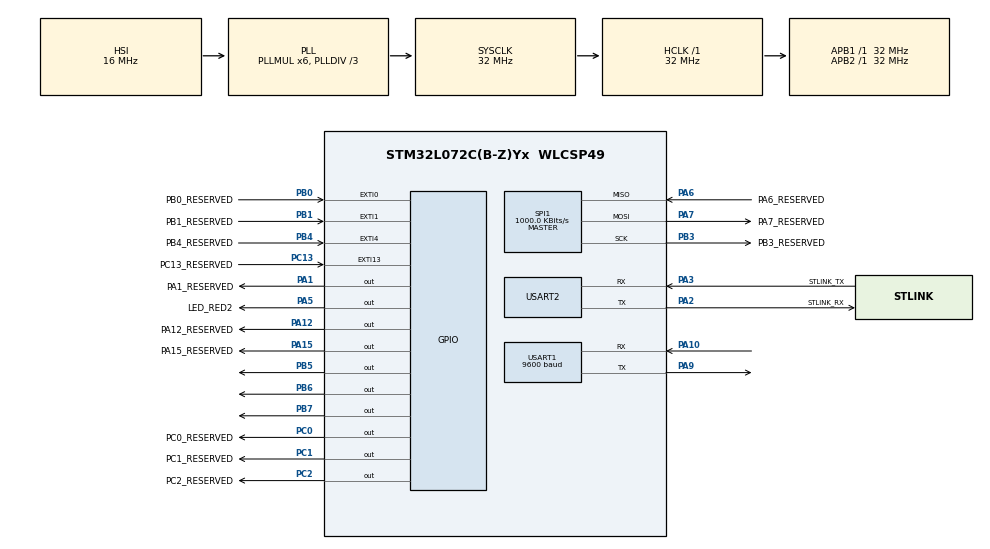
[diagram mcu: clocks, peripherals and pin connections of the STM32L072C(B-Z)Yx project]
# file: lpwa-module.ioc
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Mcu.Family=STM32L0
PA6.Mode=Full_Duplex_Master
PH0-OSC_IN.Signal=RCC_OSC_IN
SPI1.VirtualType=VM_MASTER
USART1.BaudRate=9600
PC0.GPIO_Label=PC0_RESERVED
VP_RTC_VS_RTC_Activate.Mode=RTC_Enabled
PB0.GPIO_Label=PB0_RESERVED
PA6.GPIO_Label=PA6_RESERVED
PC2.GPIO_Speed=GPIO_SPEED_FREQ_HIGH
PC13.GPIO_Label=PC13_RESERVED
VP_RTC_VS_RTC_Alarm_A_Intern.Mode=Alarm A
RCC.SYSCLKSource=RCC_SYSCLKSOURCE_PLLCLK
ProjectManager.StackSize=0x400
NVIC.RTC_IRQn=true\:0\:0\:false\:false\:true\:true\:true
PA15.GPIO_Label=PA15_RESERVED
PA12.Signal=GPIO_Output
RCC.PLLDIV=RCC_PLLDIV_3
RTC.SynchPrediv=1023
SPI1.Direction=SPI_DIRECTION_2LINES
RCC.HCLKFreq_Value=32000000
RCC.APB2TimFreq_Value=32000000
PB6.Signal=GPIO_Output
SPI1.CalculateBaudRate=1000.0 KBits/s
RCC.AHBFreq_Value=32000000
RCC.HSE_VALUE=8000000
PB3.Mode=Full_Duplex_Master
USART2.VirtualMode-Asynchronous=VM_ASYNC
RCC.PLLMUL=RCC_PLLMUL_6
PB1.GPIO_Label=PB1_RESERVED
RTC.AsynchPrediv=31
PB7.Signal=GPIO_Output
Mcu.Package=WLCSP49
PA6.Signal=SPI1_MISO
PB1.Signal=GPXTI1
PA2.GPIO_Label=STLINK_RX
PA10.Signal=USART1_RX
VP_RTC_VS_RTC_Calendar.Mode=RTC_Calendar
PA15.Signal=GPIO_Output
PA1.PinState=GPIO_PIN_RESET
RCC.APB1TimFreq_Value=32000000
NVIC.USART1_IRQn=true\:0\:0\:false\:false\:true\:true\:true
SPI1.BaudRatePrescaler=SPI_BAUDRATEPRESCALER_32
PC2.GPIO_Label=PC2_RESERVED
PA12.GPIO_Speed=GPIO_SPEED_FREQ_HIGH
NVIC.EXTI4_15_IRQn=true\:0\:0\:false\:false\:true\:true\:true
RCC.HSI48_VALUE=48000000
PB4.Signal=GPXTI4
PA3.Signal=USART2_RX
PB3.GPIO_Label=PB3_RESERVED
RCC.MSI_VALUE=2097000
PA7.Mode=Full_Duplex_Master
PA10.Mode=Asynchronous
PC13.Signal=GPXTI13
PC2.Signal=GPIO_Output
PC0.Signal=GPIO_Output
NVIC.USART2_IRQn=true\:0\:0\:false\:false\:true\:true\:true
PA12.GPIO_Label=PA12_RESERVED
USART1.VirtualMode-Asynchronous=VM_ASYNC
PA3.Mode=Asynchronous
RCC.HSI16_VALUE=16000000
PA9.Mode=Asynchronous
PC0.GPIO_Speed=GPIO_SPEED_FREQ_HIGH
ProjectManager.TargetToolchain=STM32CubeIDE
PA9.Signal=USART1_TX
RTC.Format=RTC_FORMAT_BIN
RCC.LSE_VALUE=32768
PA1.Signal=GPIO_Output
PA5.Signal=GPIO_Output
board=B-L072Z-LRWAN1
RCC.VCOOutputFreq_Value=96000000
RCC.APB2Freq_Value=32000000
PB4.GPIO_Label=PB4_RESERVED
SPI1.Mode=SPI_MODE_MASTER
PA1.GPIO_Speed=GPIO_SPEED_FREQ_HIGH
PC1.GPIO_Label=PC1_RESERVED
PA1.GPIO_Label=PA1_RESERVED
PH1-OSC_OUT.Signal=RCC_OSC_OUT
PC1.GPIO_Speed=GPIO_SPEED_FREQ_HIGH
Mcu.Name=STM32L072C(B-Z)Yx
RTC.Alarm-Alarm\ A=RTC_ALARM_A
PA2.Signal=USART2_TX
PB3.Signal=SPI1_SCK
RCC.SYSCLKFreq_VALUE=32000000
PB5.Signal=GPIO_Output
PA7.GPIO_Label=PA7_RESERVED
PA5.GPIO_Label=LED_RED2
PA15.GPIO_Speed=GPIO_SPEED_FREQ_HIGH
ProjectManager.HeapSize=0x200
RCC.HSI_VALUE=16000000
PA2.Mode=Asynchronous
RTC.AlarmSubSecondMask-Alarm\ A=RTC_ALARMSUBSECONDMASK_NONE
RCC.APB1Freq_Value=32000000
PB0.Signal=GPXTI0
PC1.Signal=GPIO_Output
PA3.GPIO_Label=STLINK_TX
PA7.Signal=SPI1_MOSI
NVIC.EXTI0_1_IRQn=true\:0\:0\:false\:false\:true\:true\:true

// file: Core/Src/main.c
/* USER CODE BEGIN Header */
/**
 ******************************************************************************
 * @file           : main.c
 * @brief          : Main program body
 ******************************************************************************
 * @attention
 *
 * <h2><center>&copy; Copyright (c) 2021 STMicroelectronics.
 * All rights reserved.</center></h2>
 *
 * This software component is licensed by ST under BSD 3-Clause license,
 * the "License"; You may not use this file except in compliance with the
 * License. You may obtain a copy of the License at:
 *                        opensource.org/licenses/BSD-3-Clause
 *
 ******************************************************************************
 */
/* USER CODE END Header */
#include "main.h"

/* USER CODE BEGIN Includes */

#include "main.h"
#include "lora.h"
#include "console.h"
#include "command.h"
#include "eeprom.h"
#include "packet.h"

/* USER CODE END Includes */

RTC_HandleTypeDef hrtc;

SPI_HandleTypeDef hspi1;

UART_HandleTypeDef huart1;
UART_HandleTypeDef huart2;

/* USER CODE BEGIN PV */

static SX1276_hw_t SX1276_hw;
static SX1276_t SX1276;

int DebugEnable;

int LEDCounterBlink;
int LEDCounterTx;
int LEDCounterRx;

static uint8_t serial_buffer;
static int command_buffer_pos;
static uint8_t command_buffer[200];
static uint8_t sensor_data[22];

/* USER CODE END PV */

void SystemClock_Config(void);
static void MX_GPIO_Init(void);
static void MX_RTC_Init(void);
static void MX_SPI1_Init(void);
static void MX_USART2_UART_Init(void);
static void MX_USART1_UART_Init(void);

/* USER CODE BEGIN 0 */

// ATコマンドを実行したように見せかけている
extern int command_uplink(const uint8_t *param);

// Serial callback for AT command input
void HAL_UART_RxCpltCallback(UART_HandleTypeDef *UartHandle) {
		if (UartHandle->Instance == USART1) {
		static int cycle = 0;
		if( DebugEnable ){
			int i;
			SerialOutput("[SENSOR] ");
			for( i=0 ; i<21 ; i++ ){
				SerialOutput("%02X ", sensor_data[i]);
			}
			SerialOutput("\r\n");
		}
		// "ATU"
		if ( --cycle <= 0) {
//			cycle = 18;     // 気象計は18回に一度送信する
			cycle = 1;
			// TODO: この変換、かっこ悪いので修正するべき！！
			int i;
			char param[49] = "\"!S001";
			for (i = 0; i < 21; i++) {
				sprintf(param + i * 2 + 6, "%1X%1X",
						(sensor_data[i] >> 4) & 0xF, sensor_data[i] & 0xF);
			}
			command_uplink((uint8_t*) param);
		}
		// Next
		HAL_UART_Receive_IT(&huart1, (uint8_t*) sensor_data, 21);
	} else if (UartHandle->Instance == USART2) {
		SerialOutput("%c", serial_buffer);
		if (serial_buffer == 0x08) {
			// Backspace
			if (command_buffer_pos > 0) {
				SerialOutput(" \x08");
				command_buffer_pos--;
			}
		} else {
			command_buffer[command_buffer_pos++] = serial_buffer;
		}
		// Next
		HAL_UART_Receive_IT(&huart2, (uint8_t*)&serial_buffer, 1);
	}
}

// one line command completed?
char* check_command_buffer(void) {
	static char temp_buffer[200];
	// コマンド入力完了？
	if (command_buffer[command_buffer_pos - 1] != '\r')
		return NULL;
	//
	memcpy(temp_buffer, command_buffer, command_buffer_pos);
	temp_buffer[command_buffer_pos - 1] = 0;
	command_buffer_pos = 0;
	return temp_buffer;
}

/* USER CODE END 0 */

int main(void)
{

  /* MCU Configuration--------------------------------------------------------*/

  /* Reset of all peripherals, Initializes the Flash interface and the Systick. */
  HAL_Init();

  /* Configure the system clock */
  SystemClock_Config();

  /* Initialize all configured peripherals */
  MX_GPIO_Init();
  MX_RTC_Init();
  MX_SPI1_Init();
  MX_USART2_UART_Init();
  MX_USART1_UART_Init();
  /* USER CODE BEGIN 2 */

	LoRaHwInit(&SX1276_hw, &SX1276);
	LoRaSetup(&SX1276, 4, 7);

	PacketInit();

	command_buffer_pos = 0;
	HAL_UART_Receive_IT(&huart1, (uint8_t*) sensor_data, 21);
	HAL_UART_Receive_IT(&huart2, (uint8_t*)&serial_buffer, 1);
	SerialOutput("-- START --\n\r");

	int led_loop_count = 0;
	int tx_loop_count = 0;
	LEDCounterBlink = 20;
	LEDCounterTx = 0;
	LEDCounterRx = 0;
	DebugEnable = 0;   // debug off

	// Entry Rx Mode
	SX1276_LoRaEntryRx(&SX1276, 255, 2000);

  /* USER CODE END 2 */

  /* Infinite loop */
  /* USER CODE BEGIN WHILE */
	while (1) {
		// LEDを制御する
		// Green = Heart Beat, 動作中は点滅しつづける
		led_loop_count = (led_loop_count + 1) % LEDCounterBlink;
		if (led_loop_count == 0) {
			LedOutput(LED_GREEN, 1);
		} else {
			LedOutput(LED_GREEN, 0);
		}
		// Red = Tx
		if (LEDCounterTx <= 0) {
			LEDCounterTx = 0;
			LedOutput(LED_RED, 0);
		} else {
			LEDCounterTx--;
			LedOutput(LED_RED, 1);
		}
		// Blue = Rx
		if (LEDCounterRx <= 0) {
			LEDCounterRx = 0;
			LedOutput(LED_BLUE, 0);
		} else {
			LEDCounterRx--;
			LedOutput(LED_BLUE, 1);
		}

			LedOutput2(LED_RED2,1);

		// check command buffer
		char *cmd = check_command_buffer();
		if (cmd != NULL) {
			// Execute command
			SerialOutput("\r\n");
			CommandExecute(cmd);
		}

		// 送受信用パケット
		uint8_t packet[256];

		// Receive LoRa
		int packet_size = LoRaReceiveMessage(&SX1276, (uint8_t*) packet);
		if (packet_size > 0) {
			PacketExecute(packet, packet_size);
			SX1276_LoRaEntryRx(&SX1276, 255, 2000);
		}

		// 受信後に 50ms 待つ
		HAL_Delay(50);

		// Send LoRa
		if (tx_loop_count <= 0 && PacketSize(PACKET_TX_FIFO) > 0) {
			packet_size = PacketDequeue(PACKET_TX_FIFO, packet);
			LoRaSendMessage(&SX1276, packet, packet_size);
			tx_loop_count = 8;   // LoRaの送信は 800[ms]周期
		} else {
			tx_loop_count--;
		}

		// 送信後に 50ms 待つ
		HAL_Delay(50);

    /* USER CODE END WHILE */

	}
}

void SystemClock_Config(void)
{
  RCC_OscInitTypeDef RCC_OscInitStruct = {0};
  RCC_ClkInitTypeDef RCC_ClkInitStruct = {0};
  RCC_PeriphCLKInitTypeDef PeriphClkInit = {0};

  /** Configure the main internal regulator output voltage
  */
  __HAL_PWR_VOLTAGESCALING_CONFIG(PWR_REGULATOR_VOLTAGE_SCALE1);
  /** Initializes the RCC Oscillators according to the specified parameters
  * in the RCC_OscInitTypeDef structure.
  */
  RCC_OscInitStruct.OscillatorType = RCC_OSCILLATORTYPE_HSI|RCC_OSCILLATORTYPE_LSI;
  RCC_OscInitStruct.HSIState = RCC_HSI_ON;
  RCC_OscInitStruct.HSICalibrationValue = RCC_HSICALIBRATION_DEFAULT;
  RCC_OscInitStruct.LSIState = RCC_LSI_ON;
  RCC_OscInitStruct.PLL.PLLState = RCC_PLL_ON;
  RCC_OscInitStruct.PLL.PLLSource = RCC_PLLSOURCE_HSI;
  RCC_OscInitStruct.PLL.PLLMUL = RCC_PLLMUL_6;
  RCC_OscInitStruct.PLL.PLLDIV = RCC_PLLDIV_3;
  if (HAL_RCC_OscConfig(&RCC_OscInitStruct) != HAL_OK)
  {
    Error_Handler();
  }
  /** Initializes the CPU, AHB and APB buses clocks
  */
  RCC_ClkInitStruct.ClockType = RCC_CLOCKTYPE_HCLK|RCC_CLOCKTYPE_SYSCLK
                              |RCC_CLOCKTYPE_PCLK1|RCC_CLOCKTYPE_PCLK2;
  RCC_ClkInitStruct.SYSCLKSource = RCC_SYSCLKSOURCE_PLLCLK;
  RCC_ClkInitStruct.AHBCLKDivider = RCC_SYSCLK_DIV1;
  RCC_ClkInitStruct.APB1CLKDivider = RCC_HCLK_DIV1;
  RCC_ClkInitStruct.APB2CLKDivider = RCC_HCLK_DIV1;

  if (HAL_RCC_ClockConfig(&RCC_ClkInitStruct, FLASH_LATENCY_1) != HAL_OK)
  {
    Error_Handler();
  }
  PeriphClkInit.PeriphClockSelection = RCC_PERIPHCLK_USART1|RCC_PERIPHCLK_USART2
                              |RCC_PERIPHCLK_RTC;
  PeriphClkInit.Usart1ClockSelection = RCC_USART1CLKSOURCE_PCLK2;
  PeriphClkInit.Usart2ClockSelection = RCC_USART2CLKSOURCE_PCLK1;
  PeriphClkInit.RTCClockSelection = RCC_RTCCLKSOURCE_LSI;
  if (HAL_RCCEx_PeriphCLKConfig(&PeriphClkInit) != HAL_OK)
  {
    Error_Handler();
  }
}

static void MX_RTC_Init(void)
{

  RTC_TimeTypeDef sTime = {0};
  RTC_DateTypeDef sDate = {0};
  RTC_AlarmTypeDef sAlarm = {0};

  /** Initialize RTC Only
  */
  hrtc.Instance = RTC;
  hrtc.Init.HourFormat = RTC_HOURFORMAT_24;
  hrtc.Init.AsynchPrediv = 31;
  hrtc.Init.SynchPrediv = 1023;
  hrtc.Init.OutPut = RTC_OUTPUT_DISABLE;
  hrtc.Init.OutPutRemap = RTC_OUTPUT_REMAP_NONE;
  hrtc.Init.OutPutPolarity = RTC_OUTPUT_POLARITY_HIGH;
  hrtc.Init.OutPutType = RTC_OUTPUT_TYPE_OPENDRAIN;
  if (HAL_RTC_Init(&hrtc) != HAL_OK)
  {
    Error_Handler();
  }

  /** Initialize RTC and set the Time and Date
  */
  sTime.Hours = 0;
  sTime.Minutes = 0;
  sTime.Seconds = 0;
  sTime.DayLightSaving = RTC_DAYLIGHTSAVING_NONE;
  sTime.StoreOperation = RTC_STOREOPERATION_RESET;
  if (HAL_RTC_SetTime(&hrtc, &sTime, RTC_FORMAT_BIN) != HAL_OK)
  {
    Error_Handler();
  }
  sDate.WeekDay = RTC_WEEKDAY_MONDAY;
  sDate.Month = RTC_MONTH_JANUARY;
  sDate.Date = 1;
  sDate.Year = 0;

  if (HAL_RTC_SetDate(&hrtc, &sDate, RTC_FORMAT_BIN) != HAL_OK)
  {
    Error_Handler();
  }
  /** Enable the Alarm A
  */
  sAlarm.AlarmTime.Hours = 0;
  sAlarm.AlarmTime.Minutes = 0;
  sAlarm.AlarmTime.Seconds = 0;
  sAlarm.AlarmTime.SubSeconds = 0;
  sAlarm.AlarmTime.DayLightSaving = RTC_DAYLIGHTSAVING_NONE;
  sAlarm.AlarmTime.StoreOperation = RTC_STOREOPERATION_RESET;
  sAlarm.AlarmMask = RTC_ALARMMASK_NONE;
  sAlarm.AlarmSubSecondMask = RTC_ALARMSUBSECONDMASK_NONE;
  sAlarm.AlarmDateWeekDaySel = RTC_ALARMDATEWEEKDAYSEL_DATE;
  sAlarm.AlarmDateWeekDay = 1;
  sAlarm.Alarm = RTC_ALARM_A;
  if (HAL_RTC_SetAlarm_IT(&hrtc, &sAlarm, RTC_FORMAT_BIN) != HAL_OK)
  {
    Error_Handler();
  }

}

static void MX_SPI1_Init(void)
{

  /* SPI1 parameter configuration*/
  hspi1.Instance = SPI1;
  hspi1.Init.Mode = SPI_MODE_MASTER;
  hspi1.Init.Direction = SPI_DIRECTION_2LINES;
  hspi1.Init.DataSize = SPI_DATASIZE_8BIT;
  hspi1.Init.CLKPolarity = SPI_POLARITY_LOW;
  hspi1.Init.CLKPhase = SPI_PHASE_1EDGE;
  hspi1.Init.NSS = SPI_NSS_SOFT;
  hspi1.Init.BaudRatePrescaler = SPI_BAUDRATEPRESCALER_32;
  hspi1.Init.FirstBit = SPI_FIRSTBIT_MSB;
  hspi1.Init.TIMode = SPI_TIMODE_DISABLE;
  hspi1.Init.CRCCalculation = SPI_CRCCALCULATION_DISABLE;
  hspi1.Init.CRCPolynomial = 7;
  if (HAL_SPI_Init(&hspi1) != HAL_OK)
  {
    Error_Handler();
  }

}

static void MX_USART1_UART_Init(void)
{

  huart1.Instance = USART1;
  huart1.Init.BaudRate = 9600;
  huart1.Init.WordLength = UART_WORDLENGTH_8B;
  huart1.Init.StopBits = UART_STOPBITS_1;
  huart1.Init.Parity = UART_PARITY_NONE;
  huart1.Init.Mode = UART_MODE_TX_RX;
  huart1.Init.HwFlowCtl = UART_HWCONTROL_NONE;
  huart1.Init.OverSampling = UART_OVERSAMPLING_16;
  huart1.Init.OneBitSampling = UART_ONE_BIT_SAMPLE_DISABLE;
  huart1.AdvancedInit.AdvFeatureInit = UART_ADVFEATURE_NO_INIT;
  if (HAL_UART_Init(&huart1) != HAL_OK)
  {
    Error_Handler();
  }

}

static void MX_USART2_UART_Init(void)
{

  huart2.Instance = USART2;
  huart2.Init.BaudRate = 115200;
  huart2.Init.WordLength = UART_WORDLENGTH_8B;
  huart2.Init.StopBits = UART_STOPBITS_1;
  huart2.Init.Parity = UART_PARITY_NONE;
  huart2.Init.Mode = UART_MODE_TX_RX;
  huart2.Init.HwFlowCtl = UART_HWCONTROL_NONE;
  huart2.Init.OverSampling = UART_OVERSAMPLING_16;
  huart2.Init.OneBitSampling = UART_ONE_BIT_SAMPLE_DISABLE;
  huart2.AdvancedInit.AdvFeatureInit = UART_ADVFEATURE_NO_INIT;
  if (HAL_UART_Init(&huart2) != HAL_OK)
  {
    Error_Handler();
  }
  /* USER CODE BEGIN USART2_Init 2 */

	//  huart2.pRxBuffPtr=(uint8_t *)&_serial_buffer;
	//  huart2.RxXferCount = 1;
	//  huart2.Mask=255;
	__HAL_UART_ENABLE_IT(&huart2, UART_IT_RXNE);

  /* USER CODE END USART2_Init 2 */

}

static void MX_GPIO_Init(void)
{
  GPIO_InitTypeDef GPIO_InitStruct = {0};

  /* GPIO Ports Clock Enable */
  __HAL_RCC_GPIOA_CLK_ENABLE();
  __HAL_RCC_GPIOB_CLK_ENABLE();
  __HAL_RCC_GPIOC_CLK_ENABLE();
  __HAL_RCC_GPIOH_CLK_ENABLE();

  /*Configure GPIO pin Output Level */
  HAL_GPIO_WritePin(GPIOA, PA15_RESERVED_Pin|PA12_RESERVED_Pin|PA1_RESERVED_Pin|LED_RED2_Pin, GPIO_PIN_RESET);

  /*Configure GPIO pin Output Level */
  HAL_GPIO_WritePin(GPIOB, GPIO_PIN_5|GPIO_PIN_6|GPIO_PIN_7, GPIO_PIN_RESET);

  /*Configure GPIO pin Output Level */
  HAL_GPIO_WritePin(GPIOC, PC1_RESERVED_Pin|PC0_RESERVED_Pin|PC2_RESERVED_Pin, GPIO_PIN_RESET);

  /*Configure GPIO pins : PA15_RESERVED_Pin PA12_RESERVED_Pin PA1_RESERVED_Pin */
  GPIO_InitStruct.Pin = PA15_RESERVED_Pin|PA12_RESERVED_Pin|PA1_RESERVED_Pin;
  GPIO_InitStruct.Mode = GPIO_MODE_OUTPUT_PP;
  GPIO_InitStruct.Pull = GPIO_NOPULL;
  GPIO_InitStruct.Speed = GPIO_SPEED_FREQ_HIGH;
  HAL_GPIO_Init(GPIOA, &GPIO_InitStruct);

  /*Configure GPIO pins : PB5 PB6 PB7 */
  GPIO_InitStruct.Pin = GPIO_PIN_5|GPIO_PIN_6|GPIO_PIN_7;
  GPIO_InitStruct.Mode = GPIO_MODE_OUTPUT_PP;
  GPIO_InitStruct.Pull = GPIO_NOPULL;
  GPIO_InitStruct.Speed = GPIO_SPEED_FREQ_LOW;
  HAL_GPIO_Init(GPIOB, &GPIO_InitStruct);

  /*Configure GPIO pins : PB4_RESERVED_Pin PB1_RESERVED_Pin PB0_RESERVED_Pin */
  GPIO_InitStruct.Pin = PB4_RESERVED_Pin|PB1_RESERVED_Pin|PB0_RESERVED_Pin;
  GPIO_InitStruct.Mode = GPIO_MODE_IT_RISING;
  GPIO_InitStruct.Pull = GPIO_NOPULL;
  HAL_GPIO_Init(GPIOB, &GPIO_InitStruct);

  /*Configure GPIO pin : PC13_RESERVED_Pin */
  GPIO_InitStruct.Pin = PC13_RESERVED_Pin;
  GPIO_InitStruct.Mode = GPIO_MODE_IT_RISING;
  GPIO_InitStruct.Pull = GPIO_NOPULL;
  HAL_GPIO_Init(PC13_RESERVED_GPIO_Port, &GPIO_InitStruct);

  /*Configure GPIO pins : PC1_RESERVED_Pin PC0_RESERVED_Pin PC2_RESERVED_Pin */
  GPIO_InitStruct.Pin = PC1_RESERVED_Pin|PC0_RESERVED_Pin|PC2_RESERVED_Pin;
  GPIO_InitStruct.Mode = GPIO_MODE_OUTPUT_PP;
  GPIO_InitStruct.Pull = GPIO_NOPULL;
  GPIO_InitStruct.Speed = GPIO_SPEED_FREQ_HIGH;
  HAL_GPIO_Init(GPIOC, &GPIO_InitStruct);

  /*Configure GPIO pin : LED_RED2_Pin */
  GPIO_InitStruct.Pin = LED_RED2_Pin;
  GPIO_InitStruct.Mode = GPIO_MODE_OUTPUT_PP;
  GPIO_InitStruct.Pull = GPIO_NOPULL;
  GPIO_InitStruct.Speed = GPIO_SPEED_FREQ_LOW;
  HAL_GPIO_Init(LED_RED2_GPIO_Port, &GPIO_InitStruct);

  /* EXTI interrupt init*/
  HAL_NVIC_SetPriority(EXTI0_1_IRQn, 0, 0);
  HAL_NVIC_EnableIRQ(EXTI0_1_IRQn);

  HAL_NVIC_SetPriority(EXTI4_15_IRQn, 0, 0);
  HAL_NVIC_EnableIRQ(EXTI4_15_IRQn);

}

void Error_Handler(void)
{
	__disable_irq();
	while (1) {
	}
}

/************************ (C) COPYRIGHT STMicroelectronics *****END OF FILE****/
